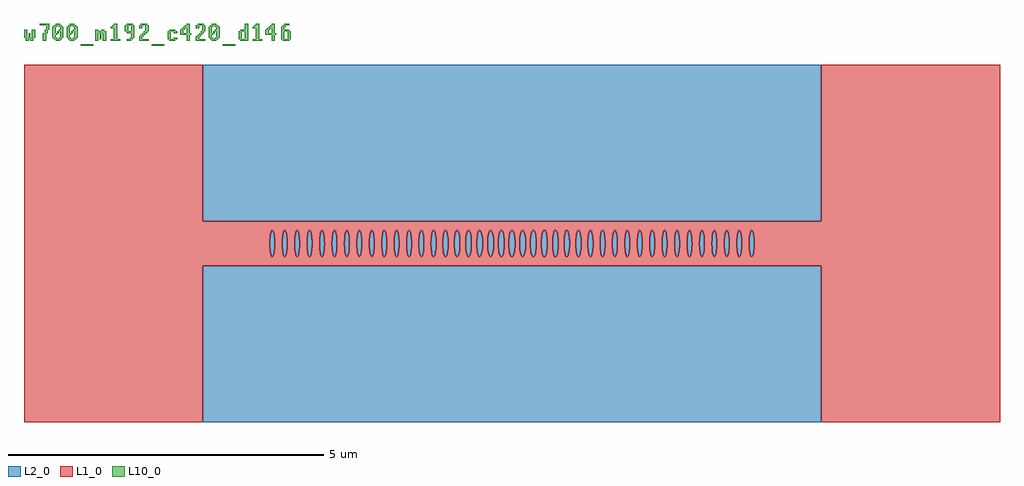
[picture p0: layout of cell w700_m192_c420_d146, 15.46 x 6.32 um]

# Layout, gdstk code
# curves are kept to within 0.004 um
import gdstk
lib = gdstk.Library(unit=1e-6, precision=1e-09)
def R(c, l, rs):  # rectangles x0, y0, x1, y1
    for r in rs: c.add(gdstk.rectangle(r[:2], r[2:], *l))
def A(c, l, x, y, w, h, nx, ny, dx, dy):  # array of equal rectangles
    R(c, l, [(x+i*dx, y+j*dy, x+i*dx+w, y+j*dy+h) for i in range(nx) for j in range(ny)])
def P(c, l, *ps):  # polygons
    for p in ps: c.add(gdstk.Polygon(p, *l))
L1_0 = (1, 0)
L2_0 = (2, 0)
L10_0 = (10, 0)

w700_m192_c420_d146 = lib.new_cell('w700_m192_c420_d146')
P(w700_m192_c420_d146, L1_0, [(-4.897,-2.835),(-4.897,-0.35),(-2.852,-0.35),(-2.852,0.35),(-4.897,0.35),(-4.897,2.835),(-7.732,2.835),(-7.732,-0.02),(-3.837,-0.02),(-3.836,0.059),(-3.824,0.159),(-3.811,0.198),(-3.796,0.21),(-3.775,0.171),(-3.765,0.114),(-3.759,-0.02),(-3.64,-0.02),(-3.639,0.059),(-3.627,0.159),(-3.614,0.198),(-3.599,0.21),(-3.585,0.191),(-3.572,0.145),(-3.562,-0.02),(-3.443,-0.02),(-3.442,0.059),(-3.43,0.159),(-3.417,0.198),(-3.402,0.21),(-3.388,0.191),(-3.375,0.145),(-3.364,-0.02),(-3.246,-0.02),(-3.245,0.059),(-3.233,0.159),(-3.22,0.198),(-3.205,0.21),(-3.19,0.191),(-3.178,0.145),(-3.167,-0.02),(-3.049,-0.02),(-3.048,0.059),(-3.036,0.159),(-3.015,0.208),(-3,0.204),(-2.993,0.191),(-2.973,0.078),(-2.97,-0.02),(-2.981,-0.145),(-2.993,-0.191),(-3.008,-0.21),(-3.023,-0.198),(-3.036,-0.159),(-3.049,-0.02),(-3.167,-0.02),(-3.178,-0.145),(-3.19,-0.191),(-3.205,-0.21),(-3.22,-0.198),(-3.233,-0.159),(-3.246,-0.02),(-3.364,-0.02),(-3.375,-0.145),(-3.388,-0.191),(-3.402,-0.21),(-3.417,-0.198),(-3.43,-0.159),(-3.443,-0.02),(-3.562,-0.02),(-3.572,-0.145),(-3.585,-0.191),(-3.599,-0.21),(-3.614,-0.198),(-3.627,-0.159),(-3.64,-0.02),(-3.759,-0.02),(-3.775,-0.171),(-3.796,-0.21),(-3.811,-0.198),(-3.824,-0.159),(-3.837,-0.02),(-7.732,-0.02),(-7.732,-2.835)],
  [(-1.865,0.059),(-1.862,0.35),(-2.852,0.35),(-2.852,0.02),(-2.838,0.159),(-2.826,0.198),(-2.811,0.21),(-2.796,0.191),(-2.784,0.145),(-2.773,-0.02),(-2.655,-0.02),(-2.647,0.13),(-2.635,0.182),(-2.621,0.208),(-2.614,0.21),(-2.599,0.191),(-2.587,0.145),(-2.576,-0.02),(-2.458,-0.02),(-2.456,0.059),(-2.444,0.159),(-2.431,0.198),(-2.417,0.21),(-2.402,0.191),(-2.39,0.145),(-2.379,-0.02),(-2.261,-0.02),(-2.259,0.059),(-2.247,0.159),(-2.234,0.198),(-2.219,0.21),(-2.198,0.171),(-2.188,0.114),(-2.182,-0.02),(-2.063,-0.02),(-2.062,0.059),(-2.05,0.159),(-2.037,0.198),(-2.022,0.21),(-2.008,0.191),(-1.996,0.145),(-1.985,0),(-1.996,-0.145),(-2.008,-0.191),(-2.022,-0.21),(-2.037,-0.198),(-2.05,-0.159),(-2.063,-0.02),(-2.182,-0.02),(-2.198,-0.171),(-2.219,-0.21),(-2.234,-0.198),(-2.247,-0.159),(-2.261,-0.02),(-2.379,-0.02),(-2.39,-0.145),(-2.402,-0.191),(-2.417,-0.21),(-2.431,-0.198),(-2.444,-0.159),(-2.458,-0.02),(-2.576,-0.02),(-2.587,-0.145),(-2.599,-0.191),(-2.614,-0.21),(-2.628,-0.198),(-2.641,-0.159),(-2.655,-0.02),(-2.773,-0.02),(-2.779,-0.114),(-2.79,-0.171),(-2.803,-0.204),(-2.818,-0.208),(-2.832,-0.182),(-2.844,-0.13),(-2.852,-0.02),(-2.852,-0.35),(-1.862,-0.35)],
  [(-0.912,0.06),(-0.904,0.131),(-0.884,0.2),(-0.884,0.35),(-1.862,0.35),(-1.862,0.096),(-1.847,0.182),(-1.833,0.208),(-1.818,0.204),(-1.804,0.171),(-1.794,0.114),(-1.788,-0.02),(-1.67,-0.02),(-1.662,0.13),(-1.643,0.199),(-1.629,0.21),(-1.614,0.191),(-1.602,0.145),(-1.591,-0.02),(-1.476,-0.02),(-1.474,0.059),(-1.462,0.159),(-1.448,0.199),(-1.433,0.21),(-1.418,0.191),(-1.406,0.145),(-1.395,-0.02),(-1.284,-0.02),(-1.283,0.059),(-1.27,0.159),(-1.256,0.199),(-1.241,0.211),(-1.225,0.192),(-1.213,0.146),(-1.204,0.078),(-1.201,-0.02),(-1.097,-0.02),(-1.088,0.131),(-1.075,0.183),(-1.06,0.209),(-1.044,0.205),(-1.029,0.172),(-1.011,0.04),(-1.011,-0.04),(-1.023,-0.146),(-1.036,-0.192),(-1.052,-0.211),(-1.068,-0.2),(-1.082,-0.16),(-1.097,-0.02),(-1.201,-0.02),(-1.213,-0.146),(-1.225,-0.192),(-1.241,-0.211),(-1.256,-0.199),(-1.27,-0.159),(-1.284,-0.02),(-1.395,-0.02),(-1.406,-0.145),(-1.418,-0.191),(-1.433,-0.21),(-1.448,-0.199),(-1.462,-0.159),(-1.476,-0.02),(-1.591,-0.02),(-1.607,-0.171),(-1.621,-0.204),(-1.629,-0.21),(-1.643,-0.199),(-1.656,-0.159),(-1.67,-0.02),(-1.788,-0.02),(-1.799,-0.145),(-1.818,-0.204),(-1.833,-0.208),(-1.847,-0.182),(-1.862,-0.096),(-1.862,-0.35),(-0.884,-0.35),(-0.884,-0.2),(-0.898,-0.16),(-0.909,-0.097)],
  [(-0.048,0.059),(-0.033,0.159),(-0.017,0.198),(0.002,0.21),(0.002,0.35),(-0.884,0.35),(-0.884,0.2),(-0.867,0.211),(-0.858,0.205),(-0.843,0.172),(-0.827,0.079),(-0.824,-0.02),(-0.735,-0.02),(-0.73,0.097),(-0.719,0.16),(-0.704,0.2),(-0.686,0.211),(-0.669,0.192),(-0.655,0.146),(-0.645,0.079),(-0.642,-0.02),(-0.56,-0.02),(-0.55,0.13),(-0.536,0.183),(-0.519,0.209),(-0.51,0.211),(-0.492,0.192),(-0.477,0.146),(-0.467,0.078),(-0.464,-0.02),(-0.388,-0.02),(-0.378,0.13),(-0.364,0.182),(-0.355,0.199),(-0.337,0.21),(-0.318,0.192),(-0.303,0.145),(-0.293,0.078),(-0.29,-0.02),(-0.219,-0.02),(-0.208,0.13),(-0.194,0.182),(-0.176,0.208),(-0.166,0.21),(-0.157,0.204),(-0.14,0.171),(-0.119,0.04),(-0.119,-0.04),(-0.132,-0.145),(-0.148,-0.191),(-0.166,-0.21),(-0.185,-0.199),(-0.202,-0.159),(-0.219,-0.02),(-0.29,-0.02),(-0.303,-0.145),(-0.318,-0.192),(-0.337,-0.21),(-0.355,-0.199),(-0.371,-0.159),(-0.383,-0.096),(-0.388,-0.02),(-0.464,-0.02),(-0.477,-0.146),(-0.492,-0.192),(-0.51,-0.211),(-0.528,-0.199),(-0.543,-0.159),(-0.56,-0.02),(-0.642,-0.02),(-0.655,-0.146),(-0.669,-0.192),(-0.686,-0.211),(-0.704,-0.2),(-0.719,-0.16),(-0.735,-0.02),(-0.824,-0.02),(-0.831,-0.114),(-0.843,-0.172),(-0.858,-0.205),(-0.867,-0.211),(-0.884,-0.2),(-0.884,-0.35),(0.002,-0.35),(0.002,-0.21),(-0.017,-0.198),(-0.04,-0.13),(-0.05,-0.02)],
  [(0.826,0.06),(0.834,0.131),(0.854,0.2),(0.871,0.211),(0.888,0.192),(0.888,0.35),(0.002,0.35),(0.002,0.21),(0.021,0.191),(0.037,0.145),(0.047,0.078),(0.051,-0.02),(0.119,-0.02),(0.129,0.13),(0.152,0.199),(0.171,0.21),(0.19,0.191),(0.205,0.145),(0.215,0.078),(0.219,-0.02),(0.29,-0.02),(0.3,0.13),(0.314,0.182),(0.323,0.199),(0.341,0.21),(0.359,0.192),(0.375,0.145),(0.385,0.078),(0.388,-0.02),(0.464,-0.02),(0.469,0.097),(0.48,0.159),(0.496,0.199),(0.514,0.211),(0.532,0.192),(0.547,0.146),(0.56,-0.02),(0.642,-0.02),(0.647,0.097),(0.658,0.16),(0.673,0.2),(0.691,0.211),(0.708,0.192),(0.722,0.146),(0.735,0),(0.722,-0.146),(0.708,-0.192),(0.691,-0.211),(0.673,-0.2),(0.658,-0.16),(0.642,-0.02),(0.56,-0.02),(0.547,-0.146),(0.532,-0.192),(0.514,-0.211),(0.496,-0.199),(0.48,-0.159),(0.464,-0.02),(0.388,-0.02),(0.375,-0.145),(0.359,-0.192),(0.341,-0.21),(0.323,-0.199),(0.307,-0.159),(0.295,-0.096),(0.29,-0.02),(0.219,-0.02),(0.205,-0.145),(0.19,-0.191),(0.171,-0.21),(0.152,-0.199),(0.136,-0.159),(0.124,-0.096),(0.119,-0.02),(0.051,-0.02),(0.037,-0.145),(0.021,-0.191),(0.002,-0.21),(0.002,-0.35),(0.888,-0.35),(0.888,-0.192),(0.871,-0.211),(0.863,-0.209),(0.854,-0.2),(0.84,-0.16),(0.826,-0.06)],
  [(1.789,0.059),(1.801,0.159),(1.822,0.208),(1.829,0.21),(1.843,0.191),(1.86,0.114),(1.86,0.35),(0.888,0.35),(0.888,0.192),(0.907,0.114),(0.914,-0.02),(1.011,-0.02),(1.02,0.131),(1.032,0.183),(1.04,0.2),(1.056,0.211),(1.072,0.192),(1.085,0.146),(1.094,0.079),(1.097,-0.02),(1.201,-0.02),(1.203,0.059),(1.215,0.159),(1.229,0.199),(1.245,0.211),(1.26,0.192),(1.273,0.146),(1.284,-0.02),(1.395,-0.02),(1.403,0.13),(1.422,0.199),(1.437,0.21),(1.452,0.191),(1.465,0.145),(1.476,-0.02),(1.591,-0.02),(1.592,0.059),(1.604,0.159),(1.617,0.199),(1.632,0.21),(1.647,0.191),(1.659,0.145),(1.67,0),(1.659,-0.145),(1.647,-0.191),(1.632,-0.21),(1.617,-0.199),(1.604,-0.159),(1.591,-0.02),(1.476,-0.02),(1.465,-0.145),(1.452,-0.191),(1.437,-0.21),(1.422,-0.199),(1.409,-0.159),(1.395,-0.02),(1.284,-0.02),(1.273,-0.146),(1.26,-0.192),(1.245,-0.211),(1.229,-0.199),(1.215,-0.159),(1.201,-0.02),(1.097,-0.02),(1.085,-0.146),(1.072,-0.192),(1.056,-0.211),(1.04,-0.2),(1.026,-0.16),(1.011,-0.02),(0.914,-0.02),(0.907,-0.114),(0.888,-0.192),(0.888,-0.35),(1.86,-0.35),(1.86,-0.114),(1.85,-0.171),(1.836,-0.204),(1.822,-0.208),(1.807,-0.182),(1.789,-0.059)],
  [(2.775,0.059),(2.787,0.159),(2.8,0.198),(2.814,0.21),(2.829,0.191),(2.841,0.145),(2.851,0.04),(2.851,0.35),(1.86,0.35),(1.86,0.114),(1.867,-0.02),(1.985,-0.02),(1.986,0.059),(1.998,0.159),(2.011,0.198),(2.026,0.21),(2.041,0.191),(2.053,0.145),(2.064,-0.02),(2.182,-0.02),(2.19,0.13),(2.208,0.198),(2.223,0.21),(2.238,0.191),(2.25,0.145),(2.261,-0.02),(2.379,-0.02),(2.387,0.13),(2.399,0.182),(2.413,0.208),(2.42,0.21),(2.435,0.191),(2.447,0.145),(2.458,-0.02),(2.576,-0.02),(2.58,0.096),(2.59,0.159),(2.603,0.198),(2.617,0.21),(2.632,0.191),(2.644,0.145),(2.655,0),(2.644,-0.145),(2.632,-0.191),(2.617,-0.21),(2.603,-0.198),(2.59,-0.159),(2.576,-0.02),(2.458,-0.02),(2.447,-0.145),(2.435,-0.191),(2.42,-0.21),(2.406,-0.198),(2.393,-0.159),(2.379,-0.02),(2.261,-0.02),(2.25,-0.145),(2.238,-0.191),(2.223,-0.21),(2.208,-0.198),(2.196,-0.159),(2.182,-0.02),(2.064,-0.02),(2.053,-0.145),(2.041,-0.191),(2.026,-0.21),(2.011,-0.198),(1.998,-0.159),(1.985,-0.02),(1.867,-0.02),(1.86,-0.114),(1.86,-0.35),(2.851,-0.35),(2.851,-0.04),(2.846,-0.114),(2.835,-0.171),(2.822,-0.204),(2.807,-0.208),(2.793,-0.182),(2.782,-0.13),(2.773,-0.02)],
  [(2.851,-0.35),(4.897,-0.35),(4.897,-2.835),(7.732,-2.835),(7.732,2.835),(4.897,2.835),(4.897,0.35),(2.851,0.35),(2.852,-0.02),(2.97,-0.02),(2.972,0.059),(2.984,0.159),(2.997,0.198),(3.012,0.21),(3.033,0.171),(3.043,0.114),(3.049,-0.02),(3.168,-0.02),(3.169,0.059),(3.181,0.159),(3.194,0.198),(3.209,0.21),(3.23,0.171),(3.24,0.114),(3.246,-0.02),(3.365,-0.02),(3.366,0.059),(3.378,0.159),(3.391,0.198),(3.406,0.21),(3.427,0.171),(3.437,0.114),(3.443,-0.02),(3.562,-0.02),(3.563,0.059),(3.575,0.159),(3.588,0.198),(3.603,0.21),(3.617,0.191),(3.63,0.145),(3.64,-0.02),(3.759,-0.02),(3.76,0.059),(3.772,0.159),(3.785,0.198),(3.8,0.21),(3.814,0.191),(3.827,0.145),(3.838,0),(3.827,-0.145),(3.814,-0.191),(3.8,-0.21),(3.785,-0.198),(3.772,-0.159),(3.759,-0.02),(3.64,-0.02),(3.63,-0.145),(3.617,-0.191),(3.603,-0.21),(3.588,-0.198),(3.575,-0.159),(3.562,-0.02),(3.443,-0.02),(3.441,-0.078),(3.427,-0.171),(3.406,-0.21),(3.391,-0.198),(3.378,-0.159),(3.365,-0.02),(3.246,-0.02),(3.23,-0.171),(3.209,-0.21),(3.194,-0.198),(3.181,-0.159),(3.168,-0.02),(3.049,-0.02),(3.033,-0.171),(3.012,-0.21),(2.997,-0.198),(2.984,-0.159),(2.97,-0.02),(2.852,-0.02)])
R(w700_m192_c420_d146, L2_0, [(-4.897,-2.835,4.897,-0.35), (-4.897,0.35,4.897,2.835)])
P(w700_m192_c420_d146, L2_0, [(2.778,-0.096),(2.793,-0.182),(2.807,-0.208),(2.814,-0.21),(2.829,-0.191),(2.846,-0.114),(2.852,-0.02),(2.846,0.114),(2.829,0.191),(2.814,0.21),(2.807,0.208),(2.793,0.182),(2.782,0.13),(2.773,0.02)],
  [(-3.636,-0.096),(-3.627,-0.159),(-3.607,-0.208),(-3.599,-0.21),(-3.585,-0.191),(-3.568,-0.114),(-3.562,-0.04),(-3.564,0.078),(-3.578,0.171),(-3.599,0.21),(-3.607,0.208),(-3.621,0.182),(-3.632,0.13),(-3.64,0.02)],
  [(3.566,-0.096),(3.575,-0.159),(3.595,-0.208),(3.603,-0.21),(3.617,-0.191),(3.634,-0.114),(3.64,-0.04),(3.638,0.078),(3.624,0.171),(3.603,0.21),(3.595,0.208),(3.581,0.182),(3.57,0.13),(3.562,0.02)],
  [(3.441,0.078),(3.427,0.171),(3.406,0.21),(3.398,0.208),(3.384,0.182),(3.373,0.13),(3.365,0.02),(3.369,-0.096),(3.384,-0.182),(3.398,-0.208),(3.406,-0.21),(3.427,-0.171),(3.437,-0.114),(3.443,-0.04)],
  [(3.243,0.078),(3.23,0.171),(3.209,0.21),(3.201,0.208),(3.187,0.182),(3.176,0.13),(3.168,0.02),(3.172,-0.096),(3.187,-0.182),(3.201,-0.208),(3.209,-0.21),(3.23,-0.171),(3.24,-0.114),(3.246,-0.04)],
  [(3.048,0.04),(3.038,0.145),(3.019,0.204),(3.004,0.208),(2.997,0.198),(2.979,0.13),(2.97,0.02),(2.975,-0.096),(2.99,-0.182),(3.004,-0.208),(3.012,-0.21),(3.033,-0.171),(3.043,-0.114)],
  [(-3.762,0.078),(-3.775,0.171),(-3.796,0.21),(-3.804,0.208),(-3.818,0.182),(-3.829,0.13),(-3.837,0.02),(-3.833,-0.096),(-3.818,-0.182),(-3.804,-0.208),(-3.796,-0.21),(-3.775,-0.171),(-3.765,-0.114),(-3.759,-0.04)],
  [(2.654,0.04),(2.644,0.145),(2.625,0.204),(2.617,0.21),(2.603,0.198),(2.585,0.13),(2.576,0.02),(2.58,-0.096),(2.596,-0.182),(2.61,-0.208),(2.617,-0.21),(2.632,-0.191),(2.649,-0.114)],
  [(2.457,0.04),(2.447,0.145),(2.428,0.204),(2.42,0.21),(2.406,0.198),(2.387,0.13),(2.379,0.02),(2.383,-0.096),(2.399,-0.182),(2.413,-0.208),(2.42,-0.21),(2.435,-0.191),(2.452,-0.114)],
  [(2.26,0.04),(2.25,0.145),(2.231,0.204),(2.223,0.21),(2.208,0.198),(2.19,0.13),(2.182,0.02),(2.186,-0.096),(2.202,-0.182),(2.208,-0.198),(2.223,-0.21),(2.238,-0.191),(2.25,-0.145),(2.258,-0.078)],
  [(2.063,0.04),(2.053,0.145),(2.034,0.204),(2.026,0.21),(2.011,0.198),(1.993,0.13),(1.985,0.02),(1.989,-0.096),(2.005,-0.182),(2.011,-0.198),(2.026,-0.21),(2.041,-0.191),(2.053,-0.145),(2.061,-0.078)],
  [(1.866,0.04),(1.856,0.145),(1.836,0.204),(1.829,0.21),(1.814,0.198),(1.796,0.13),(1.788,0.02),(1.792,-0.096),(1.807,-0.182),(1.814,-0.198),(1.829,-0.21),(1.843,-0.191),(1.856,-0.145),(1.864,-0.078)],
  [(1.669,0.04),(1.659,0.145),(1.64,0.204),(1.632,0.21),(1.617,0.199),(1.599,0.13),(1.591,0.02),(1.595,-0.096),(1.611,-0.182),(1.617,-0.199),(1.632,-0.21),(1.647,-0.191),(1.664,-0.114)],
  [(1.475,0.04),(1.465,0.145),(1.445,0.205),(1.429,0.208),(1.422,0.199),(1.403,0.13),(1.395,0.02),(1.399,-0.096),(1.415,-0.182),(1.429,-0.208),(1.437,-0.21),(1.452,-0.191),(1.465,-0.145),(1.473,-0.078)],
  [(1.281,0.078),(1.267,0.172),(1.253,0.205),(1.245,0.211),(1.237,0.209),(1.222,0.183),(1.21,0.13),(1.201,0.02),(1.206,-0.097),(1.222,-0.183),(1.237,-0.209),(1.245,-0.211),(1.253,-0.205),(1.267,-0.172),(1.278,-0.114),(1.284,-0.04)],
  [(1.096,0.04),(1.085,0.146),(1.064,0.205),(1.056,0.211),(1.04,0.2),(1.02,0.131),(1.012,0.06),(1.012,-0.06),(1.032,-0.183),(1.04,-0.2),(1.056,-0.211),(1.072,-0.192),(1.085,-0.146),(1.094,-0.079)],
  [(0.913,0.04),(0.901,0.146),(0.879,0.205),(0.871,0.211),(0.854,0.2),(0.834,0.131),(0.824,0.02),(0.829,-0.097),(0.847,-0.183),(0.854,-0.2),(0.871,-0.211),(0.888,-0.192),(0.907,-0.114)],
  [(0.734,0.04),(0.722,0.146),(0.699,0.205),(0.691,0.211),(0.673,0.2),(0.652,0.131),(0.642,0.02),(0.647,-0.097),(0.665,-0.183),(0.673,-0.2),(0.691,-0.211),(0.708,-0.192),(0.722,-0.146),(0.734,-0.04)],
  [(0.559,0.04),(0.547,0.146),(0.523,0.205),(0.514,0.211),(0.496,0.199),(0.474,0.13),(0.464,0.02),(0.469,-0.097),(0.488,-0.183),(0.505,-0.209),(0.514,-0.211),(0.532,-0.192),(0.547,-0.146),(0.559,-0.04)],
  [(0.387,0.04),(0.375,0.145),(0.351,0.205),(0.341,0.21),(0.323,0.199),(0.3,0.13),(0.29,0.02),(0.295,-0.096),(0.314,-0.182),(0.323,-0.199),(0.341,-0.21),(0.359,-0.192),(0.375,-0.145),(0.385,-0.078)],
  [(0.218,0.04),(0.205,0.145),(0.181,0.204),(0.171,0.21),(0.152,0.199),(0.129,0.13),(0.119,0.02),(0.124,-0.096),(0.144,-0.182),(0.152,-0.199),(0.171,-0.21),(0.19,-0.191),(0.211,-0.114)],
  [(0.05,0.04),(0.037,0.145),(0.012,0.204),(0.002,0.21),(-0.017,0.198),(-0.04,0.13),(-0.05,0.02),(-0.045,-0.096),(-0.025,-0.182),(-0.017,-0.198),(0.002,-0.21),(0.021,-0.191),(0.043,-0.114)],
  [(-0.122,0.078),(-0.14,0.171),(-0.148,0.191),(-0.166,0.21),(-0.176,0.208),(-0.194,0.182),(-0.208,0.13),(-0.219,0.02),(-0.213,-0.096),(-0.194,-0.182),(-0.185,-0.199),(-0.166,-0.21),(-0.148,-0.191),(-0.127,-0.114),(-0.119,-0.04)],
  [(-0.291,0.04),(-0.303,0.145),(-0.327,0.205),(-0.337,0.21),(-0.355,0.199),(-0.378,0.13),(-0.388,0.02),(-0.383,-0.096),(-0.364,-0.182),(-0.355,-0.199),(-0.337,-0.21),(-0.318,-0.192),(-0.303,-0.145),(-0.293,-0.078)],
  [(-0.465,0.04),(-0.477,0.146),(-0.501,0.205),(-0.51,0.211),(-0.528,0.199),(-0.55,0.13),(-0.56,0.02),(-0.554,-0.097),(-0.536,-0.183),(-0.519,-0.209),(-0.51,-0.211),(-0.492,-0.192),(-0.477,-0.146),(-0.467,-0.078)],
  [(-0.643,0.04),(-0.655,0.146),(-0.677,0.205),(-0.686,0.211),(-0.704,0.2),(-0.725,0.131),(-0.735,0.02),(-0.73,-0.097),(-0.712,-0.183),(-0.704,-0.2),(-0.686,-0.211),(-0.677,-0.205),(-0.661,-0.172),(-0.649,-0.114)],
  [(-0.825,0.04),(-0.837,0.146),(-0.858,0.205),(-0.867,0.211),(-0.884,0.2),(-0.904,0.131),(-0.913,0.02),(-0.909,-0.097),(-0.891,-0.183),(-0.884,-0.2),(-0.867,-0.211),(-0.85,-0.192),(-0.831,-0.114)],
  [(-1.014,0.079),(-1.029,0.172),(-1.036,0.192),(-1.052,0.211),(-1.068,0.2),(-1.088,0.131),(-1.097,0.02),(-1.092,-0.097),(-1.075,-0.183),(-1.068,-0.2),(-1.052,-0.211),(-1.036,-0.192),(-1.018,-0.114),(-1.011,-0.04)],
  [(-1.202,0.04),(-1.213,0.146),(-1.233,0.205),(-1.249,0.209),(-1.256,0.199),(-1.275,0.13),(-1.284,0.02),(-1.28,-0.097),(-1.264,-0.183),(-1.249,-0.209),(-1.241,-0.211),(-1.225,-0.192),(-1.208,-0.114)],
  [(-1.398,0.078),(-1.406,0.145),(-1.426,0.205),(-1.441,0.208),(-1.448,0.199),(-1.467,0.13),(-1.476,0.02),(-1.471,-0.096),(-1.455,-0.182),(-1.441,-0.208),(-1.433,-0.21),(-1.418,-0.191),(-1.401,-0.114),(-1.395,-0.04)],
  [(-1.594,0.078),(-1.607,0.171),(-1.621,0.204),(-1.629,0.21),(-1.643,0.199),(-1.662,0.13),(-1.67,0.02),(-1.666,-0.096),(-1.65,-0.182),(-1.643,-0.199),(-1.629,-0.21),(-1.621,-0.204),(-1.607,-0.171),(-1.597,-0.114),(-1.591,-0.04)],
  [(-1.791,0.078),(-1.804,0.171),(-1.825,0.21),(-1.833,0.208),(-1.847,0.182),(-1.858,0.13),(-1.866,0.02),(-1.862,-0.096),(-1.847,-0.182),(-1.833,-0.208),(-1.825,-0.21),(-1.804,-0.171),(-1.794,-0.114),(-1.788,-0.04)],
  [(-1.986,0.04),(-1.996,0.145),(-2.015,0.204),(-2.03,0.208),(-2.037,0.198),(-2.055,0.13),(-2.063,0.02),(-2.059,-0.096),(-2.044,-0.182),(-2.03,-0.208),(-2.022,-0.21),(-2.001,-0.171),(-1.991,-0.114)],
  [(-2.183,0.04),(-2.193,0.145),(-2.212,0.204),(-2.227,0.208),(-2.234,0.198),(-2.252,0.13),(-2.261,0.02),(-2.256,-0.096),(-2.241,-0.182),(-2.227,-0.208),(-2.219,-0.21),(-2.198,-0.171),(-2.188,-0.114)],
  [(-2.38,0.04),(-2.39,0.145),(-2.409,0.204),(-2.417,0.21),(-2.431,0.198),(-2.449,0.13),(-2.458,0.02),(-2.453,-0.096),(-2.438,-0.182),(-2.424,-0.208),(-2.417,-0.21),(-2.402,-0.191),(-2.385,-0.114)],
  [(-2.577,0.04),(-2.587,0.145),(-2.606,0.204),(-2.614,0.21),(-2.628,0.198),(-2.647,0.13),(-2.655,0.02),(-2.651,-0.096),(-2.635,-0.182),(-2.621,-0.208),(-2.614,-0.21),(-2.599,-0.191),(-2.582,-0.114)],
  [(-2.774,0.04),(-2.784,0.145),(-2.803,0.204),(-2.811,0.21),(-2.826,0.198),(-2.844,0.13),(-2.852,0.02),(-2.848,-0.096),(-2.832,-0.182),(-2.826,-0.198),(-2.811,-0.21),(-2.796,-0.191),(-2.779,-0.114)],
  [(-2.971,0.04),(-2.981,0.145),(-3,0.204),(-3.008,0.21),(-3.023,0.198),(-3.041,0.13),(-3.049,0.02),(-3.045,-0.096),(-3.029,-0.182),(-3.023,-0.198),(-3.008,-0.21),(-2.993,-0.191),(-2.981,-0.145),(-2.973,-0.078)],
  [(-3.168,0.04),(-3.178,0.145),(-3.198,0.204),(-3.205,0.21),(-3.22,0.198),(-3.238,0.13),(-3.246,0.02),(-3.242,-0.096),(-3.227,-0.182),(-3.22,-0.198),(-3.205,-0.21),(-3.19,-0.191),(-3.178,-0.145),(-3.17,-0.078)],
  [(-3.365,0.04),(-3.375,0.145),(-3.395,0.204),(-3.41,0.208),(-3.417,0.198),(-3.435,0.13),(-3.443,0.02),(-3.439,-0.096),(-3.424,-0.182),(-3.41,-0.208),(-3.402,-0.21),(-3.388,-0.191),(-3.375,-0.145),(-3.367,-0.078)],
  [(3.763,-0.096),(3.778,-0.182),(3.785,-0.198),(3.8,-0.21),(3.821,-0.171),(3.831,-0.114),(3.838,0),(3.835,0.078),(3.821,0.171),(3.8,0.21),(3.785,0.198),(3.778,0.182),(3.767,0.13),(3.759,0.02)])
A(w700_m192_c420_d146, L10_0, -6.832, 3.135, 0.2, 0.025, 3, 1, 1.125, 0)
R(w700_m192_c420_d146, L10_0, [(-7.207,3.335,-7.182,3.36), (-6.982,3.335,-6.957,3.36), (-4.732,3.335,-4.707,3.36)])
P(w700_m192_c420_d146, L10_0, [(-7.707,3.26),(-7.707,3.21),(-7.657,3.21),(-7.657,3.235),(-7.632,3.235),(-7.632,3.21),(-7.582,3.21),(-7.582,3.26),(-7.557,3.26),(-7.557,3.385),(-7.607,3.385),(-7.607,3.26),(-7.632,3.26),(-7.632,3.335),(-7.657,3.335),(-7.657,3.26),(-7.682,3.26),(-7.682,3.385),(-7.732,3.385),(-7.732,3.26)],
  [(-7.382,3.385),(-7.407,3.385),(-7.407,3.335),(-7.432,3.335),(-7.432,3.21),(-7.382,3.21),(-7.382,3.335),(-7.357,3.335),(-7.357,3.385),(-7.332,3.385),(-7.332,3.485),(-7.482,3.485),(-7.482,3.46),(-7.382,3.46)],
  [(-7.132,3.26),(-7.107,3.26),(-7.107,3.435),(-7.132,3.435),(-7.132,3.46),(-7.157,3.46),(-7.157,3.485),(-7.232,3.485),(-7.232,3.46),(-7.257,3.46),(-7.257,3.435),(-7.282,3.435),(-7.282,3.26),(-7.232,3.26),(-7.232,3.31),(-7.207,3.31),(-7.207,3.335),(-7.232,3.335),(-7.232,3.435),(-7.207,3.435),(-7.207,3.46),(-7.182,3.46),(-7.182,3.435),(-7.157,3.435),(-7.157,3.385),(-7.182,3.385),(-7.182,3.36),(-7.157,3.36),(-7.157,3.26),(-7.182,3.26),(-7.182,3.235),(-7.207,3.235),(-7.207,3.26),(-7.232,3.26),(-7.282,3.26),(-7.257,3.26),(-7.257,3.235),(-7.232,3.235),(-7.232,3.21),(-7.157,3.21),(-7.157,3.235),(-7.132,3.235)],
  [(-6.907,3.26),(-6.882,3.26),(-6.882,3.435),(-6.907,3.435),(-6.907,3.46),(-6.932,3.46),(-6.932,3.485),(-7.007,3.485),(-7.007,3.46),(-7.032,3.46),(-7.032,3.435),(-7.057,3.435),(-7.057,3.26),(-7.007,3.26),(-7.007,3.31),(-6.982,3.31),(-6.982,3.335),(-7.007,3.335),(-7.007,3.435),(-6.982,3.435),(-6.982,3.46),(-6.957,3.46),(-6.957,3.435),(-6.932,3.435),(-6.932,3.385),(-6.957,3.385),(-6.957,3.36),(-6.932,3.36),(-6.932,3.26),(-6.957,3.26),(-6.957,3.235),(-6.982,3.235),(-6.982,3.26),(-7.007,3.26),(-7.057,3.26),(-7.032,3.26),(-7.032,3.235),(-7.007,3.235),(-7.007,3.21),(-6.932,3.21),(-6.932,3.235),(-6.907,3.235)],
  [(-6.557,3.21),(-6.557,3.335),(-6.532,3.335),(-6.532,3.235),(-6.507,3.235),(-6.507,3.335),(-6.482,3.335),(-6.482,3.21),(-6.432,3.21),(-6.432,3.36),(-6.457,3.36),(-6.457,3.385),(-6.507,3.385),(-6.507,3.36),(-6.557,3.36),(-6.557,3.385),(-6.607,3.385),(-6.607,3.21)],
  [(-6.332,3.435),(-6.357,3.435),(-6.357,3.41),(-6.307,3.41),(-6.307,3.235),(-6.357,3.235),(-6.357,3.21),(-6.207,3.21),(-6.207,3.235),(-6.257,3.235),(-6.257,3.485),(-6.307,3.485),(-6.307,3.46),(-6.332,3.46)],
  [(-6.032,3.26),(-6.057,3.26),(-6.057,3.235),(-6.107,3.235),(-6.107,3.21),(-6.032,3.21),(-6.032,3.235),(-6.007,3.235),(-6.007,3.26),(-5.982,3.26),(-5.982,3.46),(-6.007,3.46),(-6.007,3.485),(-6.107,3.485),(-6.107,3.46),(-6.132,3.46),(-6.132,3.36),(-6.082,3.36),(-6.082,3.46),(-6.032,3.46),(-6.032,3.36),(-6.082,3.36),(-6.132,3.36),(-6.107,3.36),(-6.107,3.335),(-6.032,3.335)],
  [(-5.907,3.41),(-5.857,3.41),(-5.857,3.46),(-5.807,3.46),(-5.807,3.36),(-5.832,3.36),(-5.832,3.335),(-5.857,3.335),(-5.857,3.31),(-5.882,3.31),(-5.882,3.285),(-5.907,3.285),(-5.907,3.21),(-5.757,3.21),(-5.757,3.235),(-5.857,3.235),(-5.857,3.285),(-5.832,3.285),(-5.832,3.31),(-5.807,3.31),(-5.807,3.335),(-5.782,3.335),(-5.782,3.36),(-5.757,3.36),(-5.757,3.46),(-5.782,3.46),(-5.782,3.485),(-5.882,3.485),(-5.882,3.46),(-5.907,3.46)],
  [(-5.457,3.235),(-5.432,3.235),(-5.432,3.21),(-5.332,3.21),(-5.332,3.235),(-5.307,3.235),(-5.307,3.26),(-5.357,3.26),(-5.357,3.235),(-5.407,3.235),(-5.407,3.36),(-5.357,3.36),(-5.357,3.335),(-5.307,3.335),(-5.307,3.36),(-5.332,3.36),(-5.332,3.385),(-5.432,3.385),(-5.432,3.36),(-5.457,3.36)],
  [(-5.107,3.21),(-5.107,3.31),(-5.082,3.31),(-5.082,3.335),(-5.107,3.335),(-5.107,3.485),(-5.157,3.485),(-5.157,3.46),(-5.182,3.46),(-5.182,3.435),(-5.207,3.435),(-5.207,3.41),(-5.232,3.41),(-5.232,3.385),(-5.257,3.385),(-5.257,3.335),(-5.207,3.335),(-5.207,3.385),(-5.182,3.385),(-5.182,3.41),(-5.157,3.41),(-5.157,3.335),(-5.207,3.335),(-5.257,3.335),(-5.257,3.31),(-5.157,3.31),(-5.157,3.21)],
  [(-5.007,3.41),(-4.957,3.41),(-4.957,3.46),(-4.907,3.46),(-4.907,3.36),(-4.932,3.36),(-4.932,3.335),(-4.957,3.335),(-4.957,3.31),(-4.982,3.31),(-4.982,3.285),(-5.007,3.285),(-5.007,3.21),(-4.857,3.21),(-4.857,3.235),(-4.957,3.235),(-4.957,3.285),(-4.932,3.285),(-4.932,3.31),(-4.907,3.31),(-4.907,3.335),(-4.882,3.335),(-4.882,3.36),(-4.857,3.36),(-4.857,3.46),(-4.882,3.46),(-4.882,3.485),(-4.982,3.485),(-4.982,3.46),(-5.007,3.46)],
  [(-4.657,3.26),(-4.632,3.26),(-4.632,3.435),(-4.657,3.435),(-4.657,3.46),(-4.682,3.46),(-4.682,3.485),(-4.757,3.485),(-4.757,3.46),(-4.782,3.46),(-4.782,3.435),(-4.807,3.435),(-4.807,3.26),(-4.757,3.26),(-4.757,3.31),(-4.732,3.31),(-4.732,3.335),(-4.757,3.335),(-4.757,3.435),(-4.732,3.435),(-4.732,3.46),(-4.707,3.46),(-4.707,3.435),(-4.682,3.435),(-4.682,3.385),(-4.707,3.385),(-4.707,3.36),(-4.682,3.36),(-4.682,3.26),(-4.707,3.26),(-4.707,3.235),(-4.732,3.235),(-4.732,3.26),(-4.757,3.26),(-4.807,3.26),(-4.782,3.26),(-4.782,3.235),(-4.757,3.235),(-4.757,3.21),(-4.682,3.21),(-4.682,3.235),(-4.657,3.235)],
  [(-4.232,3.485),(-4.232,3.385),(-4.307,3.385),(-4.307,3.36),(-4.332,3.36),(-4.332,3.235),(-4.282,3.235),(-4.282,3.36),(-4.232,3.36),(-4.232,3.235),(-4.282,3.235),(-4.332,3.235),(-4.307,3.235),(-4.307,3.21),(-4.182,3.21),(-4.182,3.485)],
  [(-4.082,3.435),(-4.107,3.435),(-4.107,3.41),(-4.057,3.41),(-4.057,3.235),(-4.107,3.235),(-4.107,3.21),(-3.957,3.21),(-3.957,3.235),(-4.007,3.235),(-4.007,3.485),(-4.057,3.485),(-4.057,3.46),(-4.082,3.46)],
  [(-3.757,3.21),(-3.757,3.31),(-3.732,3.31),(-3.732,3.335),(-3.757,3.335),(-3.757,3.485),(-3.807,3.485),(-3.807,3.46),(-3.832,3.46),(-3.832,3.435),(-3.857,3.435),(-3.857,3.41),(-3.882,3.41),(-3.882,3.385),(-3.907,3.385),(-3.907,3.335),(-3.857,3.335),(-3.857,3.385),(-3.832,3.385),(-3.832,3.41),(-3.807,3.41),(-3.807,3.335),(-3.857,3.335),(-3.907,3.335),(-3.907,3.31),(-3.807,3.31),(-3.807,3.21)],
  [(-3.507,3.36),(-3.532,3.36),(-3.532,3.385),(-3.607,3.385),(-3.607,3.435),(-3.582,3.435),(-3.582,3.46),(-3.532,3.46),(-3.532,3.485),(-3.607,3.485),(-3.607,3.46),(-3.632,3.46),(-3.632,3.435),(-3.657,3.435),(-3.657,3.235),(-3.607,3.235),(-3.607,3.36),(-3.557,3.36),(-3.557,3.235),(-3.607,3.235),(-3.657,3.235),(-3.632,3.235),(-3.632,3.21),(-3.532,3.21),(-3.532,3.235),(-3.507,3.235)])

lib.write_gds('w700_m192_c420_d146.gds')
